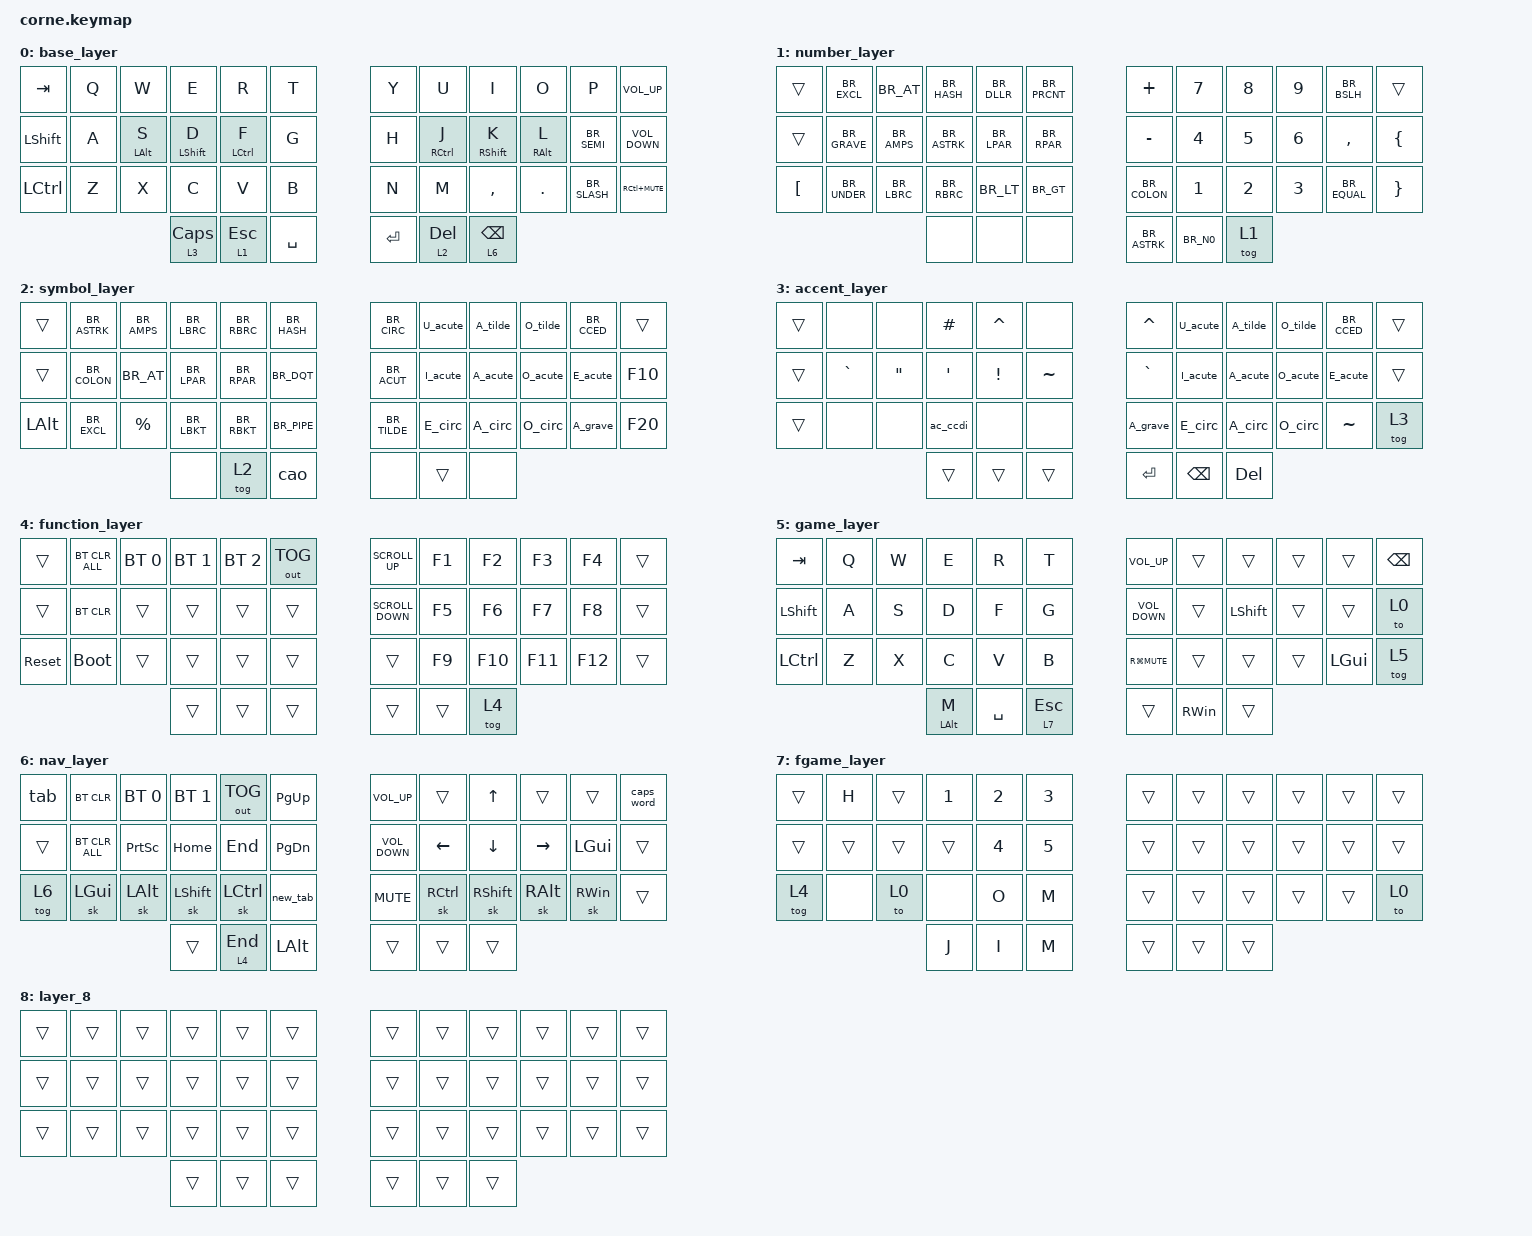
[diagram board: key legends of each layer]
#include "keys_br_abnt2.h"
#include "helper.h"
#include "accents.dtsi"
#include <behaviors.dtsi>
#include <dt-bindings/zmk/bt.h>
#include <dt-bindings/zmk/keys.h>
#include <dt-bindings/zmk/outputs.h>

#define BASE 0
#define NUME 1
#define SYMB 2
#define FUNC 3
#define GAME 4
#define NAVI 5
#define FGAM 6
#define ACCE 7

AC_KEY(A_acute, BR_A, BR_ACUT)
AC_KEY(A_grave, BR_A, BR_GRAVE)
AC_KEY(A_tilde, BR_A, BR_TILDE)
AC_KEY(A_circ,  BR_A, BR_CIRC)

AC_KEY(E_acute, BR_E, BR_ACUT)
AC_KEY(E_circ,  BR_E, BR_CIRC)

AC_KEY(I_acute, BR_I, BR_ACUT)

AC_KEY(O_acute, BR_O, BR_ACUT)
AC_KEY(O_tilde, BR_O, BR_TILDE)
AC_KEY(O_circ,  BR_O, BR_CIRC)

AC_KEY(U_acute, BR_U, BR_ACUT)

UNDEAD_KEY(tilde, BR_TILDE)
UNDEAD_KEY(caret, BR_CIRC)
UNDEAD_KEY(grave, BR_GRAVE)

// Behavior configuration

&mt {
    tapping-term-ms = <200>;
    quick_tap_ms = <0>;
    flavor = "tap-preferred";
};

&lt {
    tapping-term-ms = <200>;
    quick_tap_ms = <0>;
    flavor = "tap-preferred";
};

&sk {
    release-after-ms = <500>;
    quick-release;
};

/ {
    behaviors {
        hm: homerow_mods {
            compatible = "zmk,behavior-hold-tap";
            label = "HOMEROW_MODS";
            #binding-cells = <2>;
            tapping-term-ms = <TAPPING_TERM>;
            flavor = "balanced";
            bindings = <&kp>, <&kp>;
        };

        hml: hml {
            compatible = "zmk,behavior-hold-tap";
            label = "HML";
            bindings = <&kp>, <&kp>;

            #binding-cells = <2>;
            tapping-term-ms = <280>;
            quick-tap-ms = <175>;
            flavor = "balanced";
            hold-trigger-on-release;
            hold-trigger-key-positions = <6 7 8 9 10 11 18 19 20 21 22 23 30 31 32 33 34 35 38 39 40 41 37 36>;
            require-prior-idle-ms = <150>;
        };

        hmr: hmr {
            compatible = "zmk,behavior-hold-tap";
            label = "HMR";
            bindings = <&kp>, <&kp>;

            #binding-cells = <2>;
            tapping-term-ms = <280>;
            quick-tap-ms = <175>;
            hold-trigger-on-release;
            hold-trigger-key-positions = <0 1 2 3 4 5 12 13 14 15 16 17 24 25 26 27 28 29 36 37 38 39 40 41>;
            flavor = "balanced";
            require-prior-idle-ms = <150>;
        };

        lrt: lrt {
            compatible = "zmk,behavior-hold-tap";
            label = "LRT";
            bindings = <&mo>, <&kp>;

            #binding-cells = <2>;
            tapping-term-ms = <150>;
            flavor = "tap-preferred";
        };

        mouse_behavior: mouse_behavior {
            compatible = "zmk,behavior-mouse-key-press";
            label = "MOUSE_BEHAVIOR";
            #binding-cells = <1>;
        };

        sticky: sticky {
            compatible = "zmk,behavior-sticky-key";
            label = "STICKY";
            bindings = <&none>;
            #binding-cells = <1>;
            release-after-ms = <0>;
        };

        toggle_behavior: toggle_behavior {
            compatible = "zmk,behavior-toggle-layer";
            label = "TOGGLE_BEHAVIOR";
            #binding-cells = <1>;
        };

        togkey_behavior: togkey_behavior {
            compatible = "zmk,behavior-key-toggle";
            label = "TOGKEY_BEHAVIOR";
            #binding-cells = <1>;
        };

        encoder_behavior: encoder_behavior {
            compatible = "zmk,behavior-sensor-rotate-var";
            label = "ENCODER_BEHAVIOR";
            #sensor-binding-cells = <2>;
            bindings = <&none>, <&none>;
        };

        tap_behavior: tap_behavior {
            compatible = "zmk,behavior-tap-dance";
            label = "TAP_BEHAVIOR";
            #binding-cells = <0>;
            bindings = <&none>;
        };

        encoder1_behavior: encoder1_behavior {
            compatible = "zmk,behavior-sensor-rotate";
            label = "ENCODER1_BEHAVIOR";
            #sensor-binding-cells = <0>;
            bindings = <&kp C_VOLUME_UP>, <&kp C_VOL_DN>;
        };
    };

    combos {
        compatible = "zmk,combos";

        // combo_esc {
        //timeout-ms = <50>;
        //key-positions = <13 16>;
        //  bindings = <&caps_word>;
        //  };

        game {
            timeout-ms = <50>;
            bindings = <&tog 4>;
            key-positions = <16 15>;
            layers = <0>;
        };

        close {
            timeout-ms = <50>;
            bindings = <&close>;
            key-positions = <1 2 3 4>;
            layers = <0>;
        };

        prtsc_combo {
            timeout-ms = <50>;
            bindings = <&kp PRINTSCREEN>;
            key-positions = <6 5>;
            layers = <0>;
        };

        caps {
            timeout-ms = <50>;
            bindings = <&caps_word>;
            key-positions = <25 26 27 28>;
            layers = <0>;
        };

        esc {
            timeout-ms = <50>;
            bindings = <&kp ESC>;
            key-positions = <1 0>;
            layers = <0>;
        };

        quest {
            bindings = <&kp BR_QMARK>;
            key-positions = <33 32 31>;
            layers = <0>;
        };

        lock {
            bindings = <&lock>;
            key-positions = <7 8 9>;
            layers = <5>;
        };

        copy {
            bindings = <&copy>;
            key-positions = <26 27>;
            layers = <6>;
        };

        paste {
            bindings = <&paste>;
            key-positions = <27 28>;
            layers = <0>;
        };

        n1 {
            bindings = <&kp NUMBER_1>;
            key-positions = <1 13>;
            layers = <0>;
        };

        n2 {
            bindings = <&kp NUMBER_2>;
            key-positions = <2 14>;
            layers = <0>;
        };

        n3 {
            bindings = <&kp NUMBER_3>;
            key-positions = <3 15>;
            layers = <0>;
        };

        n4 {
            bindings = <&kp NUMBER_4>;
            key-positions = <4 16>;
            layers = <0>;
        };

        n5 {
            bindings = <&kp NUMBER_5>;
            key-positions = <5 17>;
            layers = <0>;
        };

        n6 {
            bindings = <&kp NUMBER_6>;
            key-positions = <6 18>;
            layers = <0>;
        };

        n7 {
            bindings = <&kp NUMBER_7>;
            key-positions = <7 19>;
            layers = <0>;
        };

        n8 {
            bindings = <&kp NUMBER_8>;
            key-positions = <20 8>;
            layers = <0>;
        };

        n9 {
            bindings = <&kp NUMBER_9>;
            key-positions = <9 21>;
            layers = <0>;
        };

        n0 {
            bindings = <&kp NUMBER_0>;
            key-positions = <10 22>;
            layers = <0>;
        };

        tec {
            bindings = <&tog 7>;
            key-positions = <10 22>;
            layers = <0>;
        };

        circ {
            bindings = <&kp BR_CIRC>;
            key-positions = <7 6>;
            layers = <0>;
        };

        agud {
            bindings = <&kp BR_ACUT>;
            key-positions = <18 19>;
            layers = <0>;
        };

        til {
            bindings = <&kp BR_TILDE>;
            key-positions = <31 30>;
            layers = <0>;
        };

        grave {
            bindings = <&kp BR_GRAVE>;
            key-positions = <32 31 30>;
            layers = <0>;
        };

        gml {
            bindings = <&tog 5>;
            key-positions = <15 16 37>;
            layers = <0>;
        };
    };

    macros {
        close: close {
            compatible = "zmk,behavior-macro";
            label = "new_macro";
            #binding-cells = <0>;
            bindings =
                <&macro_press>,
                <&kp LALT>,
                <&macro_tap>,
                <&kp F4>,
                <&macro_release>,
                <&kp LALT>;
        };

        cao: cao {
            compatible = "zmk,behavior-macro";
            label = "CAO";
            #binding-cells = <0>;
            bindings =
                <&macro_tap>,
                <&kp BR_CCED>,
                <&macro_tap_time 20>,
                <&A_tilde>;
        };

        guilt: guilt {
            compatible = "zmk,behavior-macro";
            label = "GUILT";
            #binding-cells = <0>;
            bindings =
                <&macro_press>,
                <&kp LEFT_GUI>,
                <&macro_tap>,
                <&kp LEFT>,
                <&macro_release>,
                <&kp LEFT_GUI>;
        };

        guirt: guirt {
            compatible = "zmk,behavior-macro";
            label = "GUIRT";
            #binding-cells = <0>;
            bindings =
                <&macro_press>,
                <&kp LEFT_GUI>,
                <&macro_tap>,
                <&kp RIGHT>,
                <&macro_release>,
                <&kp LEFT_WIN>;
        };

        lock: lock {
            compatible = "zmk,behavior-macro";
            label = "LOCK";
            #binding-cells = <0>;
            bindings =
                <&macro_press>,
                <&kp LEFT_GUI>,
                <&macro_tap>,
                <&kp L>,
                <&macro_release>,
                <&kp LEFT_GUI>;
        };

        gui_up: gui_up {
            compatible = "zmk,behavior-macro";
            #binding-cells = <0>;
            bindings =
                <&macro_press>,
                <&kp LEFT_GUI>,
                <&macro_tap>,
                <&kp UP_ARROW>,
                <&macro_release>,
                <&kp LEFT_GUI>;

            label = "GUI_UP";
        };

        copy: copy {
            compatible = "zmk,behavior-macro";
            #binding-cells = <0>;
            bindings =
                <&macro_press>,
                <&kp LEFT_CONTROL>,
                <&macro_tap>,
                <&kp C>,
                <&macro_release>,
                <&kp LEFT_CONTROL>;

            label = "COPY";
        };

        paste: paste {
            compatible = "zmk,behavior-macro";
            #binding-cells = <0>;
            bindings =
                <&macro_press>,
                <&kp LEFT_CONTROL>,
                <&macro_tap>,
                <&kp V>,
                <&macro_release>,
                <&kp LEFT_CONTROL>;

            label = "PASTE";
        };

        tab: tab {
            compatible = "zmk,behavior-macro";
            #binding-cells = <0>;
            bindings =
                <&macro_press>,
                <&kp LEFT_ALT>,
                <&macro_tap>,
                <&kp TAB>,
                <&macro_release>,
                <&kp LALT>;

            label = "TAB";
        };

        new_tab: new_tab {
            compatible = "zmk,behavior-macro";
            #binding-cells = <0>;
            bindings =
                <&macro_press>,
                <&kp LEFT_ALT>,
                <&macro_tap>,
                <&kp ESCAPE>,
                <&macro_release>,
                <&kp LEFT_ALT>;

            label = "NEW_TAB";
        };
    };

    keymap {
        compatible = "zmk,keymap";

        base_layer {
            bindings = <
&kp TAB    &kp Q  &kp W       &kp E           &kp R         &kp T        &kp Y    &kp U         &kp I            &kp O       &kp P         &kp C_VOLUME_UP
&kp LSHFT  &kp A  &hm LALT S  &hm LSHFT D     &hm LCTRL F   &kp G        &kp H    &hm RCTRL J   &hm RSHFT K      &hm RALT L  &kp BR_SEMI   &kp C_VOLUME_DOWN
&kp LCTRL  &kp Z  &kp X       &kp C           &kp V         &kp B        &kp N    &kp M         &kp COMMA        &kp DOT     &kp BR_SLASH  &kp RC(C_MUTE)
                              &lt 3 CAPSLOCK  &lt 1 ESCAPE  &kp SPACE    &kp RET  &lt 2 DELETE  &lt 6 BACKSPACE
            >;
        };

        number_layer {
            bindings = <
&trans            &kp BR_EXCL   &kp BR_AT    &kp BR_HASH   &kp BR_DLLR  &kp BR_PRCNT    &kp PLUS      &kp N7     &kp N8  &kp N9  &kp BR_BSLH   &trans
&trans            &kp BR_GRAVE  &kp BR_AMPS  &kp BR_ASTRK  &kp BR_LPAR  &kp BR_RPAR     &kp MINUS     &kp N4     &kp N5  &kp N6  &kp COMMA     &kp LEFT_BRACE
&kp LEFT_BRACKET  &kp BR_UNDER  &kp BR_LBRC  &kp BR_RBRC   &kp BR_LT    &kp BR_GT       &kp BR_COLON  &kp N1     &kp N2  &kp N3  &kp BR_EQUAL  &kp RIGHT_BRACE
                                             &none         &none        &none           &kp BR_ASTRK  &kp BR_N0  &tog 1
            >;
        };

        symbol_layer {
            bindings = <
&trans        &kp BR_ASTRK  &kp BR_AMPS  &kp BR_LBRC  &kp BR_RBRC  &kp BR_HASH    &kp BR_CIRC   &U_acute  &A_tilde  &O_tilde  &kp BR_CCED  &trans
&trans        &kp BR_COLON  &kp BR_AT    &kp BR_LPAR  &kp BR_RPAR  &kp BR_DQT     &kp BR_ACUT   &I_acute  &A_acute  &O_acute  &E_acute     &kp F10
&kp LEFT_ALT  &kp BR_EXCL   &kp PERCENT  &kp BR_LBKT  &kp BR_RBKT  &kp BR_PIPE    &kp BR_TILDE  &E_circ   &A_circ   &O_circ   &A_grave     &kp F20
                                         &none        &tog 2       &cao           &none         &trans    &none
            >;
        };

        accent_layer {
            bindings = <
&trans  &none      &none    &kp HASH  &kp CARET  &none        &kp CARET  &U_acute  &A_tilde  &O_tilde  &kp BR_CCED  &trans
&trans  &kp GRAVE  &kp DQT  &kp SQT   &kp EXCL   &kp TILDE    &kp GRAVE  &I_acute  &A_acute  &O_acute  &E_acute     &trans
&trans  &none      &none    &ac_ccdi  &none      &none        &A_grave   &E_circ   &A_circ   &O_circ   &kp TILDE    &tog 3
                            &trans    &trans     &trans       &kp ENTER  &kp BSPC  &kp DEL
            >;
        };

        function_layer {
            bindings = <
&trans      &bt BT_CLR_ALL  &bt BT_SEL 0  &bt BT_SEL 1  &bt BT_SEL 2  &out OUT_TOG    &kp K_SCROLL_UP    &kp F1  &kp F2   &kp F3   &kp F4   &trans
&trans      &bt BT_CLR      &trans        &trans        &trans        &trans          &kp K_SCROLL_DOWN  &kp F5  &kp F6   &kp F7   &kp F8   &trans
&sys_reset  &bootloader     &trans        &trans        &trans        &trans          &trans             &kp F9  &kp F10  &kp F11  &kp F12  &trans
                                          &trans        &trans        &trans          &trans             &trans  &tog 4
            >;
        };

        game_layer {
            bindings = <
&kp TAB         &kp Q  &kp W  &kp E           &kp R      &kp T           &kp C_VOLUME_UP    &trans         &trans          &trans  &trans        &kp BACKSPACE
&kp LEFT_SHIFT  &kp A  &kp S  &kp D           &kp F      &kp G           &kp C_VOLUME_DOWN  &trans         &kp LEFT_SHIFT  &trans  &trans        &to 0
&kp LCTRL       &kp Z  &kp X  &kp C           &kp V      &kp B           &kp RG(C_MUTE)     &trans         &trans          &trans  &kp LEFT_GUI  &tog 5
                              &mt LEFT_ALT M  &kp SPACE  &lt 7 ESCAPE    &trans             &kp RIGHT_WIN  &trans
            >;
        };

        nav_layer {
            bindings = <
&tab    &bt BT_CLR      &bt BT_SEL 0     &bt BT_SEL 1  &out OUT_TOG      &kp PG_UP    &kp C_VOLUME_UP    &trans             &kp UP_ARROW  &trans         &trans         &caps_word
&trans  &bt BT_CLR_ALL  &kp PRINTSCREEN  &kp HOME      &kp END           &kp PG_DN    &kp C_VOLUME_DOWN  &kp LEFT_ARROW     &kp DOWN      &kp RIGHT      &kp LGUI       &trans
&tog 6  &sk LEFT_GUI    &sk LALT         &sk LSHFT     &sk LEFT_CONTROL  &new_tab     &kp K_MUTE         &sk RIGHT_CONTROL  &sk RSHFT     &sk RIGHT_ALT  &sk RIGHT_WIN  &trans
                                         &trans        &lt 4 END         &kp LALT     &trans             &trans             &trans
            >;
        };

        fgame_layer {
            bindings = <
&trans  &kp H   &trans  &kp NUMBER_1  &kp NUMBER_2  &kp NUMBER_3    &trans  &trans  &trans  &trans  &trans  &trans
&trans  &trans  &trans  &trans        &kp NUMBER_4  &kp N5          &trans  &trans  &trans  &trans  &trans  &trans
&tog 4  &none   &to 0   &none         &kp O         &kp M           &trans  &trans  &trans  &trans  &trans  &to 0
                        &kp J         &kp I         &kp M           &trans  &trans  &trans
            >;
        };

        layer_8 {
            bindings = <
&trans  &trans  &trans  &trans  &trans  &trans    &trans  &trans  &trans  &trans  &trans  &trans
&trans  &trans  &trans  &trans  &trans  &trans    &trans  &trans  &trans  &trans  &trans  &trans
&trans  &trans  &trans  &trans  &trans  &trans    &trans  &trans  &trans  &trans  &trans  &trans
                        &trans  &trans  &trans    &trans  &trans  &trans
            >;
        };
    };
};
